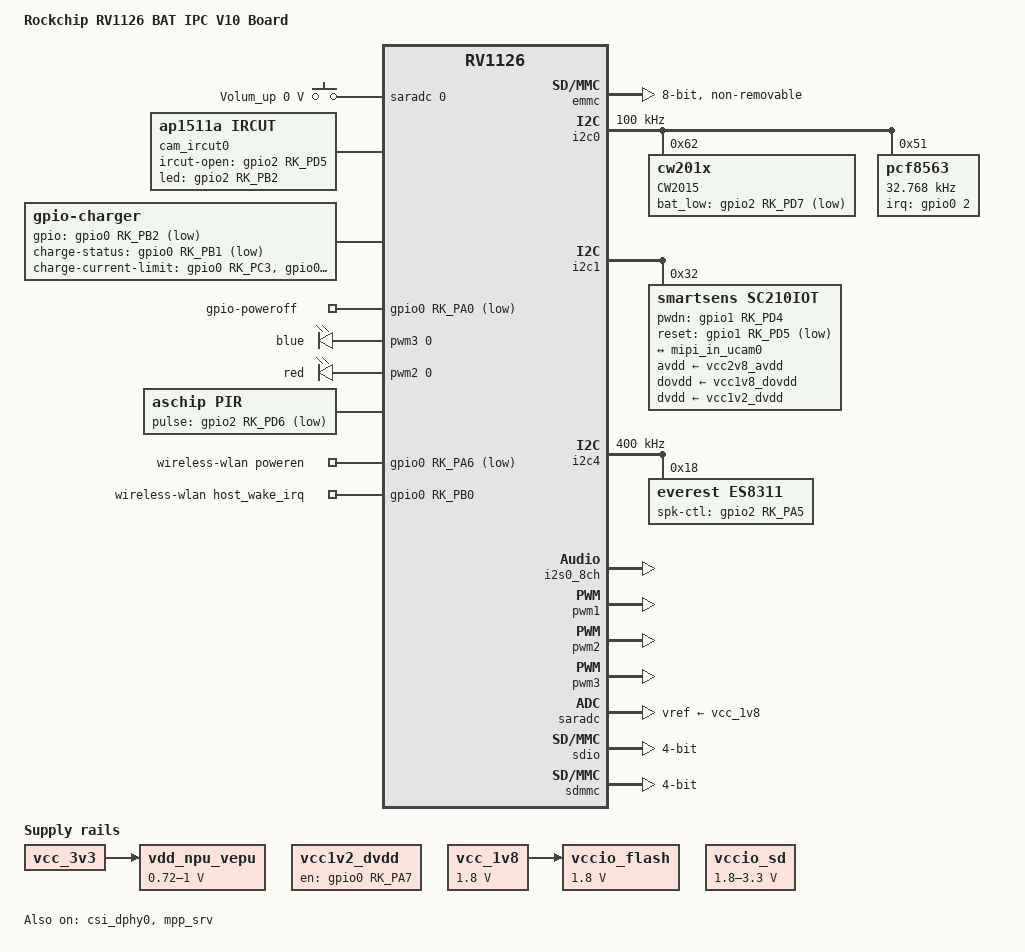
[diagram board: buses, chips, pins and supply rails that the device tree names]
// SPDX-License-Identifier: (GPL-2.0+ OR MIT)
/*
 * Copyright (c) 2020 Rockchip Electronics Co., Ltd.
 */

/dts-v1/;
#include "rv1126.dtsi"
#include "rv1126-bat-ipc.dtsi"
#include "rv1126-thunder-boot-emmc.dtsi"
#include <dt-bindings/input/input.h>

/ {
	model = "Rockchip RV1126 BAT IPC V10 Board";
	compatible = "rockchip,rv1126-bat-ipc-v10", "rockchip,rv1126";

	adc-keys {
		compatible = "adc-keys";
		io-channels = <&saradc 0>;
		io-channel-names = "buttons";
		poll-interval = <100>;
		keyup-threshold-microvolt = <1800000>;

		recovery {
			label = "Volum_up";
			linux,code = <KEY_VOLUMEUP>;
			press-threshold-microvolt = <0>;
		};
	};

	cam_ircut0: cam_ircut {
		status = "okay";
		compatible = "ap1511a,ircut";
		pinctrl-names = "default";
		pinctrl-0 = <&ir_cut_en>;
		ircut-open-gpios = <&gpio2 RK_PD5 GPIO_ACTIVE_HIGH>;
		led-gpios = <&gpio2 RK_PB2 GPIO_ACTIVE_HIGH>;
		rockchip,camera-module-index = <1>;
		rockchip,camera-module-facing = "front";
	};

	charger {
		compatible = "gpio-charger";
		pinctrl-names = "default";
		pinctrl-0 = <&charger_io>;
		gpios = <&gpio0 RK_PB2 GPIO_ACTIVE_LOW>;
		charger-type = "usb-dcp";
		charge-status-gpios = <&gpio0 RK_PB1 GPIO_ACTIVE_LOW>;
		charge-current-limit-gpios = <&gpio0 RK_PC3 GPIO_ACTIVE_HIGH>,
					     <&gpio0 RK_PC2 GPIO_ACTIVE_HIGH>;
		charge-current-limit-mapping = <2000000 0x03>, <500000 0x00>;
		extcon = <&u2phy0>;
	};

	gpio-poweroff {
		compatible = "gpio-poweroff";
		gpios = <&gpio0 RK_PA0 GPIO_ACTIVE_LOW>;
		pinctrl-names = "default";
		pinctrl-0 = <&power_hold>;
	};

	i2s0_sound: i2s0-sound {
		status = "okay";
		compatible = "simple-audio-card";
		simple-audio-card,format = "i2s";
		simple-audio-card,mclk-fs = <256>;
		simple-audio-card,name = "rockchip,i2s0-sound";
		simple-audio-card,cpu {
			sound-dai = <&i2s0_8ch>;
		};
		simple-audio-card,codec {
			sound-dai = <&es8311>;
		};
	};

	leds {
		compatible = "pwm-leds";
		blue {
			label = "blue";
			pwms = <&pwm3 0 50000 0>;
			max-brightness = <255>;
		};

		red {
			label = "red";
			pwms = <&pwm2 0 50000 0>;
			max-brightness = <255>;
			linux,default-trigger = "heartbeat";
		};
	};

	pir {
		compatible = "aschip,pir";
		pulse-gpios = <&gpio2 RK_PD6 GPIO_ACTIVE_LOW>;
	};

	vcc1v2_dvdd: vcc1v8_dovdd: vcc2v8_avdd: vcc-camera {
		compatible = "regulator-fixed";
		regulator-name = "vcc_camera";
		regulator-boot-on;
		gpio = <&gpio0 RK_PA7 GPIO_ACTIVE_HIGH>;
		enable-active-high;
	};

	vcc_1v8: vcc-1v8 {
		compatible = "regulator-fixed";
		regulator-name = "vcc_1v8";
		regulator-always-on;
		regulator-boot-on;
		regulator-min-microvolt = <1800000>;
		regulator-max-microvolt = <1800000>;
	};

	vccio_flash: vccio-flash {
		compatible = "regulator-fixed";
		regulator-name = "vccio_flash";
		regulator-always-on;
		regulator-boot-on;
		regulator-min-microvolt = <1800000>;
		regulator-max-microvolt = <1800000>;
		vin-supply = <&vcc_1v8>;
	};

	vccio_sd: vccio-sd {
		compatible = "regulator-gpio";
		regulator-name = "vccio_sd";
		regulator-min-microvolt = <1800000>;
		regulator-max-microvolt = <3300000>;
		gpios = <&gpio0 RK_PA4 GPIO_ACTIVE_HIGH>;
		states = <3300000 1
			  1800000 0>;
	};

	vdd_npu_vepu: vdd-npu-vepu {
		compatible = "pwm-regulator";
		pwms = <&pwm1 0 5000 1>;
		regulator-name = "vdd_npu_vepu";
		regulator-min-microvolt = <720000>;
		regulator-max-microvolt = <1000000>;
		regulator-init-microvolt = <824000>;
		regulator-always-on;
		regulator-boot-on;
		regulator-settling-time-up-us = <250>;
		pwm-supply = <&vcc_3v3>;
	};

	wireless-wlan {
		compatible = "wlan-platdata";
		rockchip,grf = <&grf>;
		pinctrl-names = "default";
		pinctrl-0 = <&wifi_wake_host>;
		wifi_chip_type = "ap6203";
		WIFI,poweren_gpio = <&gpio0 RK_PA6 GPIO_ACTIVE_LOW>;
		WIFI,host_wake_irq = <&gpio0 RK_PB0 GPIO_ACTIVE_HIGH>;
		status = "okay";
	};
};

&csi_dphy0 {
	status = "okay";

	ports {
		#address-cells = <1>;
		#size-cells = <0>;
		port@0 {
			reg = <0>;
			#address-cells = <1>;
			#size-cells = <0>;

			mipi_in_ucam0: endpoint@1 {
				reg = <1>;
				remote-endpoint = <&ucam_out0>;
				data-lanes = <1 2>;
			};
		};
		port@1 {
			reg = <1>;
			#address-cells = <1>;
			#size-cells = <0>;

			csidphy0_out: endpoint@0 {
				reg = <0>;
				remote-endpoint = <&isp_in>;
			};
		};
	};
};

&emmc {
	bus-width = <8>;
	cap-mmc-highspeed;
	non-removable;
	mmc-hs200-1_8v;
	rockchip,default-sample-phase = <90>;
	no-sdio;
	no-sd;
	/delete-property/ pinctrl-names;
	/delete-property/ pinctrl-0;
	status = "okay";
};

&i2c0 {
	status = "okay";
	clock-frequency = <100000>;

	CW2015@62 {
		compatible = "cw201x";
		reg = <0x62>;
		bat_low_gpio = <&gpio2 RK_PD7 GPIO_ACTIVE_LOW>;
		bat_config_info = <0x15 0x7E 0x7A 0x6E 0x6A 0x67 0x63 0x62 0x62 0x61 0x5E
				   0x59 0x56 0x57 0x51 0x3C 0x30 0x27 0x29 0x29 0x2E 0x3A
				   0x49 0x57 0x64 0x57 0x0B 0x85 0x30 0x50 0x60 0x67 0x6A
				   0x6C 0x6A 0x6C 0x39 0x14 0x64 0x0E 0x04 0x2A 0x4E 0x81
				   0x8E 0x90 0x90 0x43 0x64 0x83 0x96 0xA5 0x80 0x86 0xAC
				   0xCB 0x2F 0x00 0x64 0xA5 0xB5 0x00 0xF8 0x31>;
		monitor_sec = <5>;
		virtual_power = <0>;
	};

	pcf8563: pcf8563@51 {
		compatible = "pcf8563";
		reg = <0x51>;
		interrupt-parent = <&gpio0>;
		interrupts = <2 IRQ_TYPE_EDGE_FALLING>;
		pinctrl-names = "default";
		pinctrl-0 = <&rtc_int>;
		#clock-cells = <0>;
		clock-frequency = <32768>;
		clock-output-names = "xin32k";
	};
};

&i2c1 {
	status = "okay";

	sc210iot: sc210iot@32 {
		compatible = "smartsens,sc210iot";
		reg = <0x32>;
		clocks = <&cru CLK_MIPICSI_OUT>;
		clock-names = "xvclk";
		power-domains = <&power RV1126_PD_VI>;
		avdd-supply = <&vcc2v8_avdd>;
		dovdd-supply = <&vcc1v8_dovdd>;
		dvdd-supply = <&vcc1v2_dvdd>;
		pwdn-gpios = <&gpio1 RK_PD4 GPIO_ACTIVE_HIGH>;
		reset-gpios = <&gpio1 RK_PD5 GPIO_ACTIVE_LOW>;
		rockchip,camera-module-index = <1>;
		rockchip,camera-module-facing = "front";
		rockchip,camera-module-name = "YT-SC210-V2";
		rockchip,camera-module-lens-name = "M12-30IRC-2MP-F18";
		ir-cut = <&cam_ircut0>;

		port {
			ucam_out0: endpoint {
				remote-endpoint = <&mipi_in_ucam0>;
				data-lanes = <1 2>;
			};
		};
	};
};

&i2c4 {
	status = "okay";
	clock-frequency = <400000>;
	pinctrl-0 = <&i2c4m1_xfer>;

	es8311: es8311@18 {
		compatible = "everest,es8311";
		reg = <0x18>;
		clocks = <&cru MCLK_I2S0_TX_OUT2IO>;
		clock-names = "mclk";
		adc-pga-gain = <6>;  /* 18dB */
		adc-volume = <0xbf>;  /* 0dB */
		dac-volume = <0xbf>;  /* 0dB */
		aec-mode = "dac left, adc right";
		pinctrl-names = "default";
		pinctrl-0 = <&i2s0m0_mclk &spk_ctl>;
		assigned-clocks = <&cru MCLK_I2S0_TX_OUT2IO>;
		assigned-clock-parents = <&cru MCLK_I2S0_TX>;
		spk-ctl-gpios = <&gpio2 RK_PA5 GPIO_ACTIVE_HIGH>;
		#sound-dai-cells = <0>;
	};
};

&i2s0_8ch {
	status = "okay";
	#sound-dai-cells = <0>;
	rockchip,clk-trcm = <1>;
	rockchip,i2s-rx-route = <3 0 1 2>;
	pinctrl-0 = <&i2s0m0_sclk_tx
		     &i2s0m0_lrck_tx
		     &i2s0m0_sdo0
		     &i2s0m0_sdo1_sdi3>;
};

&isp_reserved {
	size = <0x02400000>;
};

&npu {
	npu-supply = <&vdd_npu_vepu>;
};

&pinctrl {
	charger {
		/omit-if-no-ref/
		charger_io: charger-io {
			rockchip,pins = <0 RK_PB1 RK_FUNC_GPIO &pcfg_pull_up>,
					<0 RK_PB2 RK_FUNC_GPIO &pcfg_pull_up>;
		};
	};
	es8311 {
		spk_ctl: spk-ctl {
			rockchip,pins = <2 RK_PA5 RK_FUNC_GPIO &pcfg_pull_none>;
		};
	};
	ir-cut {
		/omit-if-no-ref/
		ir_cut_en: ir-cut-en {
			rockchip,pins = <2 RK_PD4 RK_FUNC_GPIO &pcfg_output_low>;
		};
	};
	regulator {
		/omit-if-no-ref/
		power_hold: power-hold {
			rockchip,pins =
				<0 RK_PA0 RK_FUNC_GPIO &pcfg_output_high>;
		};
	};
	rtc {
		/omit-if-no-ref/
		rtc_int: rtc-int {
			rockchip,pins = <0 RK_PA2 RK_FUNC_GPIO &pcfg_pull_up>;
		};
	};
	wireless-wlan {
		/omit-if-no-ref/
		wifi_wake_host: wifi-wake-host {
			rockchip,pins = <0 RK_PB0 RK_FUNC_GPIO &pcfg_pull_down>;
		};
	};
};

&pmu_io_domains {
	status = "okay";

	pmuio0-supply = <&vcc_1v8>;
	pmuio1-supply = <&vcc_3v3>;
	vccio2-supply = <&vccio_sd>;
	vccio3-supply = <&vcc_1v8>;
	vccio4-supply = <&vcc_1v8>;
	vccio5-supply = <&vcc_3v3>;
	vccio7-supply = <&vcc_3v3>;
};

&pwm1 {
	status = "okay";
	pinctrl-names = "active";
	pinctrl-0 = <&pwm1m0_pins_pull_down>;
};

&pwm2 {
	status = "okay";
	pinctrl-names = "active";
	pinctrl-0 = <&pwm2m1_pins_pull_down>;
};

&pwm3 {
	status = "okay";
	pinctrl-names = "active";
	pinctrl-0 = <&pwm3m1_pins_pull_down>;
};

&rkisp_thunderboot {
	reg = <0x08000000 (32 * 0x00100000)>;
};

&rkisp_vir0 {
	ports {
		port@0 {
			reg = <0>;
			#address-cells = <1>;
			#size-cells = <0>;

			isp_in: endpoint@0 {
				reg = <0>;
				remote-endpoint = <&csidphy0_out>;
			};
		};
	};
};

&rkvenc {
	venc-supply = <&vdd_npu_vepu>;
};

&rkvenc_mmu {
	status = "okay";
};

&mpp_srv {
	status = "okay";
};

&rockchip_suspend {
	status = "okay";
	rockchip,sleep-debug-en = <1>;
	rockchip,sleep-mode-config = <
		(0
		| RKPM_SLP_ARMOFF
		| RKPM_SLP_PMU_PMUALIVE_32K
		| RKPM_SLP_PMU_DIS_OSC
		)
	>;
};

&saradc {
	status = "okay";
	vref-supply = <&vcc_1v8>;
};

&sdio {
	max-frequency = <50000000>;
	bus-width = <4>;
	cap-sd-highspeed;
	cap-sdio-irq;
	keep-power-in-suspend;
	rockchip,default-sample-phase = <90>;
	no-sd;
	no-mmc;
	supports-chip-alive;
	logic-remove-card;
	status = "okay";
};

&sdmmc {
	bus-width = <4>;
	cap-mmc-highspeed;
	cap-sd-highspeed;
	card-detect-delay = <200>;
	rockchip,default-sample-phase = <90>;
	no-sdio;
	no-mmc;
	sd-uhs-sdr12;
	sd-uhs-sdr25;
	sd-uhs-sdr104;
	vqmmc-supply = <&vccio_sd>;
	status = "okay";
};

&u2phy0 {
	vup-gpios = <&gpio0 RK_PC1 GPIO_ACTIVE_LOW>;
};
